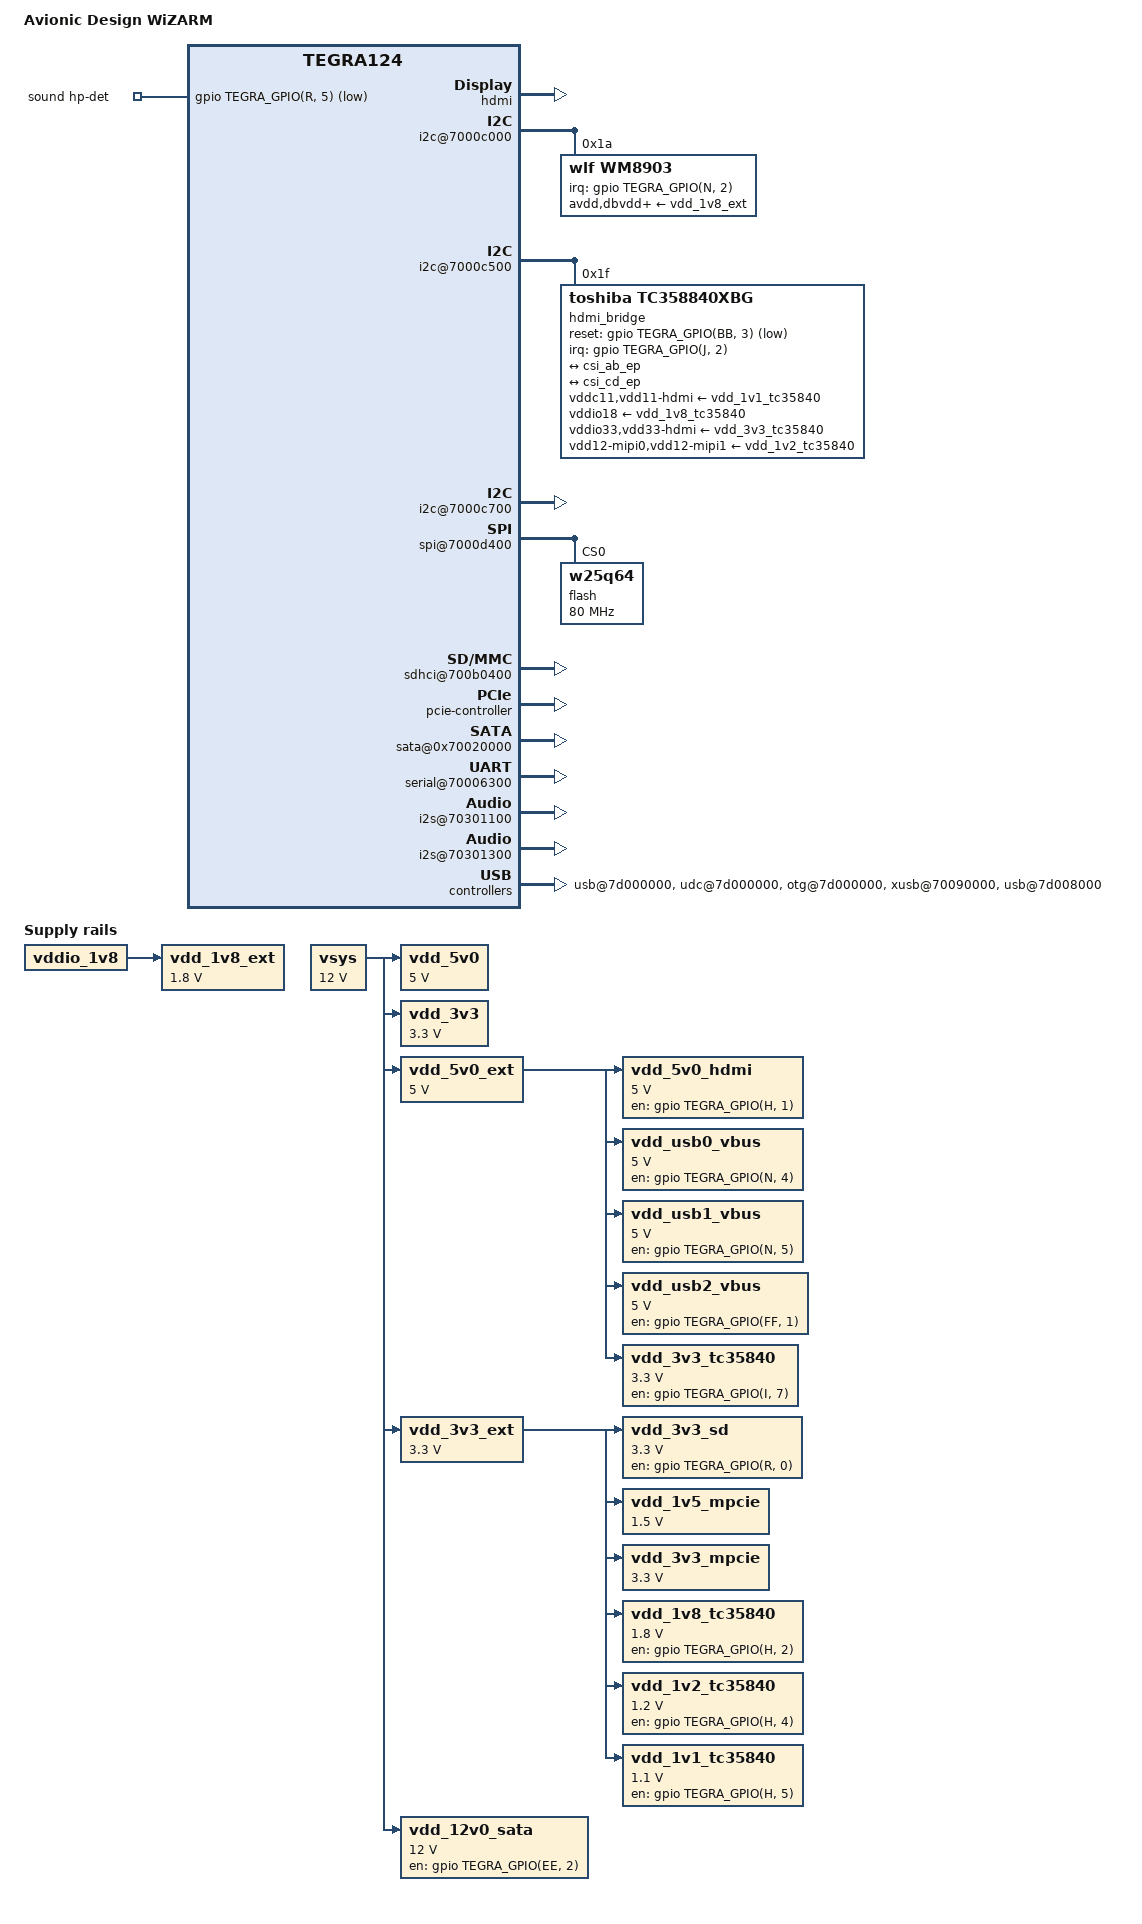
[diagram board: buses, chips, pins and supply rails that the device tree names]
/dts-v1/;

#include "tegra124-meerkat.dtsi"

/ {
	model = "Avionic Design WiZARM";
	compatible = "ad,wizarm", "ad,meerkat", "nvidia,tegra124";
	nvidia,dtsfilename = __FILE__;

	pinmux {
		common {
			/* codec interrupt */
			dap1_dout_pn2 {
				nvidia,enable-input = <TEGRA_PIN_ENABLE>;
			};

			/* i2s1 (DAP2) */
			dap2_din_pa4 {
				nvidia,tristate = <TEGRA_PIN_DISABLE>;
			};

			dap2_dout_pa5 {
				nvidia,tristate = <TEGRA_PIN_DISABLE>;
			};

			dap2_fs_pa2 {
				nvidia,tristate = <TEGRA_PIN_DISABLE>;
			};

			dap2_sclk_pa3 {
				nvidia,tristate = <TEGRA_PIN_DISABLE>;
			};

			/* i2s3 (DAP4) */
			dap4_din_pp5 {
				nvidia,tristate = <TEGRA_PIN_DISABLE>;
			};
			dap4_fs_pp4 {
				nvidia,tristate = <TEGRA_PIN_DISABLE>;
			};
			dap4_sclk_pp7 {
				nvidia,tristate = <TEGRA_PIN_DISABLE>;
			};

			/* Set a pull up on GPIO PJ2 */
			pj2 {
				nvidia,enable-input = <TEGRA_PIN_ENABLE>;
				nvidia,pull = <TEGRA_PIN_PULL_NONE>;
				nvidia,tristate = <TEGRA_PIN_DISABLE>;
			};
		};
	};

	pwm-fan {
		status = "okay";
	};

	host1x {
		dc@54200000 {
			status = "okay";

			nvidia,dc-connection = "external-display";
			vdd_hdmi_5v0-supply = <&vdd_5v0_hdmi>;
		};

		hdmi {
			status = "okay";
		};

		vi {
			port@0 {
				endpoint@0 {
					remote-endpoint = <&hdmi_bridge_ep0>;
				};
			};

			port@1 {
				endpoint@0 {
					remote-endpoint = <&hdmi_bridge_ep1>;
				};
			};
		};
	};

	/* GEN1 I2C */
	i2c@7000c000 {
		status = "okay";

		wm8903: wm8903@1a {
			compatible = "wlf,wm8903";
			reg = <0x1a>;

			interrupt-parent = <&gpio>;
			interrupts = <TEGRA_GPIO(N, 2) IRQ_TYPE_LEVEL_HIGH>;

			avdd-supply = <&vdd_1v8_ext>;
			dbvdd-supply = <&vdd_1v8_ext>;
			cpvdd-supply = <&vdd_1v8_ext>;
			dcvdd-supply = <&vdd_1v8_ext>;

			gpio-controller;
			#gpio-cells = <2>;

			micdet-cfg = <0>;
			micdet-delay = <100>;
		};
	};

	i2c@7000c500 {
		status = "okay";

		hdmi_bridge: tc358840xbg@1f {
			compatible = "toshiba,tc358840xbg";
			reg = <0x1f>;

			#sound-dai-cells = <0>;

			vddc11-supply = <&vdd_1v1_tc35840>;
			vddio18-supply = <&vdd_1v8_tc35840>;
			vddio33-supply = <&vdd_3v3_tc35840>;
			vdd33-hdmi-supply = <&vdd_3v3_tc35840>;
			vdd11-hdmi-supply = <&vdd_1v1_tc35840>;
			vdd12-mipi0-supply = <&vdd_1v2_tc35840>;
			vdd12-mipi1-supply = <&vdd_1v2_tc35840>;

			interrupt-parent = <&gpio>;
			interrupts = <TEGRA_GPIO(J, 2) IRQ_TYPE_LEVEL_HIGH>;

			reset-gpios = <&gpio TEGRA_GPIO(BB, 3) GPIO_ACTIVE_LOW>;

			clock-rate = <48000000>;

			port {
				#address-cells = <1>;
				#size-cells = <0>;

				hdmi_bridge_ep0: endpoint@0 {
					reg = <0>;
					remote-endpoint = <&csi_ab_ep>;
					clock-lanes = <0>;
					data-lanes = <0>, <1>, <2>, <3>;
					clock-noncontinuous;
				};

				hdmi_bridge_ep1: endpoint@1 {
					status = "disabled";
					reg = <1>;
					remote-endpoint = <&csi_cd_ep>;
					clock-lanes = <0>;
					data-lanes = <0>, <1>, <2>, <3>;
					clock-noncontinuous;
				};
			};
		};
	};

	/* HDMI DDC */
	i2c@7000c700 {
		status = "okay";
	};

	spi@7000d400 {
		status = "okay";

		flash@0 {
			#address-cells = <1>;
			#size-cells = <1>;

			compatible = "w25q64";
			reg = <0>;
			spi-max-frequency = <80000000>;
		};
	};

	/* MMC card slot */
	sdhci@700b0400 {
		status = "okay";
		vddio_sd_slot-supply = <&vdd_3v3_sd>;
		wp-gpios = <>;
	};

	pcie-controller {
		nvidia,port0_status = <1>;
		nvidia,port1_status = <1>;
		nvidia,lanes = <TEGRA_PCIE_LANES_X2_X1>;
		status = "okay";
	};

	hda@70030000 {
		status = "okay";
	};

	avp-audio {
		compatible = "nvidia,tegra124-avp-audio", "nvidia,tegra30-avp-audio";
	};

	audio-offload {
		compatible = "nvidia,tegra-offload";
	};

	/* SATA */
	sata@0x70020000 {
		status = "okay";
		vdd_sata-supply = <&vdd_12v0_sata>;
	};

	serial@70006300 {
		status = "okay";
	};

	ahub {
		status = "okay";
		i2s@70301100 {
			status = "okay";
		};

		i2s@70301300 {
			status = "okay";
		};
	};

	sound {
		compatible = "ad,tegra-audio-wm8903-medcom-wide",
			     "nvidia,tegra-audio-wm8903";
		nvidia,model = "Avionic Design Meerkat WM8903";

		nvidia,audio-routing =
			"Headphone Jack", "HPOUTR",
			"Headphone Jack", "HPOUTL",
			"Mic Jack", "MICBIAS",
			"IN1L", "Mic Jack";

		nvidia,hp-det-gpios = <&gpio TEGRA_GPIO(R, 5) GPIO_ACTIVE_LOW>;

		nvidia,memory-clients = <SWGID_PPCS>;
		nvidia,i2s-controller = <&tegra_i2s1>;
		nvidia,i2s-is-master;
		nvidia,audio-codec = <&wm8903>;
	};

	hdmi_bridge_sound {
		compatible = "ad,uh2c-adc";
		nvidia,model = "Avionic Design UH2C Audio";

		nvidia,memory-clients = <SWGID_PPCS>;
		nvidia,i2s-controller = <&tegra_i2s3>;
		sound-dai = <&hdmi_bridge>;
	};


	/* USB0 / Client */
	usb@7d000000 {
		status = "okay";
		nvidia,port-otg;
		nvidia,remote-wakeup-supported;
		nvidia,power-off-on-suspend;

		usb_vbus-supply = <&vdd_usb0_vbus>;
	};

	udc@7d000000 {
		status = "okay";

		usb_vbus-supply = <&vdd_usb0_vbus>;
	};

	otg@7d000000 {
		status = "okay";

		usb_vbus-supply = <&vdd_usb0_vbus>;
	};

	/* USB1 */
	xusb@70090000 {
		status = "okay";
		nvidia,portmap = <(XUSB_MUX_USB2_P1 | XUSB_MUX_SS_P0)>;
		nvidia,ss_portmap = <XUSB_PADCTL_SS_PORTMAP(P1, DISABLE)>;
		usb_vbus1-supply = <&vdd_usb1_vbus>;
	};

	/* USB2 */
	usb@7d008000 {
		status = "okay";

		usb_vbus-supply = <&vdd_usb2_vbus>;
	};

	regulators {
		vsys: regulator@100 {
			compatible = "regulator-fixed";
			reg = <100>;
			regulator-name = "VSYS";
			regulator-min-microvolt = <12000000>;
			regulator-max-microvolt = <12000000>;
			regulator-always-on;
			regulator-boot-on;
		};

		vdd_5v0: regulator@101 {
			compatible = "regulator-fixed";
			reg = <101>;
			regulator-name = "+5V_SOM";
			regulator-min-microvolt = <5000000>;
			regulator-max-microvolt = <5000000>;
			vin-supply = <&vsys>;
		};

		vdd_3v3: regulator@102 {
			compatible = "regulator-fixed";
			reg = <102>;
			regulator-name = "+3V3_SOM";
			regulator-min-microvolt = <3300000>;
			regulator-max-microvolt = <3300000>;
			vin-supply = <&vsys>;
		};

		vdd_5v0_ext: regulator@103 {
			compatible = "regulator-fixed";
			reg = <103>;
			regulator-name = "+5V_EXT";
			regulator-min-microvolt = <5000000>;
			regulator-max-microvolt = <5000000>;
			vin-supply = <&vsys>;
		};

		vdd_3v3_ext: regulator@104 {
			compatible = "regulator-fixed";
			reg = <104>;
			regulator-name = "+3V3_EXT";
			regulator-min-microvolt = <3300000>;
			regulator-max-microvolt = <3300000>;
			vin-supply = <&vsys>;
		};

		vdd_1v8_ext: regulator@105 {
			compatible = "regulator-fixed";
			reg = <105>;
			regulator-name = "+1V8_EXT";
			regulator-min-microvolt = <1800000>;
			regulator-max-microvolt = <1800000>;
			vin-supply = <&vddio_1v8>;
		};

		vdd_5v0_hdmi: regulator@106 {
			compatible = "regulator-fixed";
			reg = <106>;
			regulator-name = "HDMI_VCC";
			regulator-min-microvolt = <5000000>;
			regulator-max-microvolt = <5000000>;
			vin-supply = <&vdd_5v0_ext>;
			gpio = <&gpio TEGRA_GPIO(H, 1) GPIO_ACTIVE_HIGH>;
			enable-active-high;
		};

		vdd_3v3_sd: regulator@107 {
			compatible = "regulator-fixed";
			reg = <107>;
			regulator-name = "+3V3_SD";
			regulator-min-microvolt = <3300000>;
			regulator-max-microvolt = <3300000>;
			vin-supply = <&vdd_3v3_ext>;
			gpio = <&gpio TEGRA_GPIO(R, 0) GPIO_ACTIVE_HIGH>;
			enable-active-high;
		};

		vdd_1v5_mpcie: regulator@108 {
			compatible = "regulator-fixed";
			reg = <108>;
			regulator-name = "+1V5_mPCIe";
			regulator-min-microvolt = <1500000>;
			regulator-max-microvolt = <1500000>;
			vin-supply = <&vdd_3v3_ext>;
		};

		vdd_3v3_mpcie: regulator@109 {
			compatible = "regulator-fixed";
			reg = <109>;
			regulator-name = "+3V3_mPCIe";
			regulator-min-microvolt = <3300000>;
			regulator-max-microvolt = <3300000>;
			vin-supply = <&vdd_3v3_ext>;
		};

		vdd_12v0_sata: regulator@110 {
			compatible = "regulator-fixed";
			reg = <110>;
			regulator-name = "+12V0_SATA";
			regulator-min-microvolt = <12000000>;
			regulator-max-microvolt = <12000000>;
			vin-supply = <&vsys>;
			gpio = <&gpio TEGRA_GPIO(EE, 2) GPIO_ACTIVE_HIGH>;
			enable-active-high;
		};

		vdd_usb0_vbus: regulator@111 {
			compatible = "regulator-fixed";
			reg = <111>;
			regulator-name = "USB_CLIENT_VBUS";
			regulator-min-microvolt = <5000000>;
			regulator-max-microvolt = <5000000>;
			vin-supply = <&vdd_5v0_ext>;
			gpio = <&gpio TEGRA_GPIO(N, 4) GPIO_ACTIVE_HIGH>;
			enable-active-high;
			gpio-open-drain;
		};

		vdd_usb1_vbus: regulator@112 {
			compatible = "regulator-fixed";
			reg = <112>;
			regulator-name = "USB1_VCC";
			regulator-min-microvolt = <5000000>;
			regulator-max-microvolt = <5000000>;
			vin-supply = <&vdd_5v0_ext>;
			gpio = <&gpio TEGRA_GPIO(N, 5) GPIO_ACTIVE_HIGH>;
			enable-active-high;
			gpio-open-drain;
		};

		vdd_usb2_vbus: regulator@113 {
			compatible = "regulator-fixed";
			reg = <113>;
			regulator-name = "USB2_VCC";
			regulator-min-microvolt = <5000000>;
			regulator-max-microvolt = <5000000>;
			vin-supply = <&vdd_5v0_ext>;
			gpio = <&gpio TEGRA_GPIO(FF, 1) GPIO_ACTIVE_HIGH>;
			enable-active-high;
			gpio-open-drain;
		};

		vdd_1v8_tc35840: regulator@114 {
			compatible = "regulator-fixed";
			reg = <114>;
			regulator-name = "+1V8_TC35840";
			regulator-min-microvolt = <1800000>;
			regulator-max-microvolt = <1800000>;
			vin-supply = <&vdd_3v3_ext>;
			gpio = <&gpio TEGRA_GPIO(H, 2) GPIO_ACTIVE_HIGH>;
			enable-active-high;
		};

		vdd_1v2_tc35840: regulator@115 {
			compatible = "regulator-fixed";
			reg = <115>;
			regulator-name = "+1V2_TC35840";
			regulator-min-microvolt = <1200000>;
			regulator-max-microvolt = <1200000>;
			vin-supply = <&vdd_3v3_ext>;
			gpio = <&gpio TEGRA_GPIO(H, 4) GPIO_ACTIVE_HIGH>;
			enable-active-high;
		};

		vdd_1v1_tc35840: regulator@116 {
			compatible = "regulator-fixed";
			reg = <116>;
			regulator-name = "+1V1_TC35840";
			regulator-min-microvolt = <1100000>;
			regulator-max-microvolt = <1100000>;
			vin-supply = <&vdd_3v3_ext>;
			gpio = <&gpio TEGRA_GPIO(H, 5) GPIO_ACTIVE_HIGH>;
			enable-active-high;
		};

		vdd_3v3_tc35840: regulator@117 {
			compatible = "regulator-fixed";
			reg = <117>;
			regulator-name = "+3V3_TC35840";
			regulator-min-microvolt = <3300000>;
			regulator-max-microvolt = <3300000>;
			/* The regulator need 3ms, but we also add 1ms for
			 * the clock to be available. */
			regulator-enable-ramp-delay = <4000>;
			vin-supply = <&vdd_5v0_ext>;
			gpio = <&gpio TEGRA_GPIO(I, 7) GPIO_ACTIVE_HIGH>;
			enable-active-high;
		};

	};
 };

